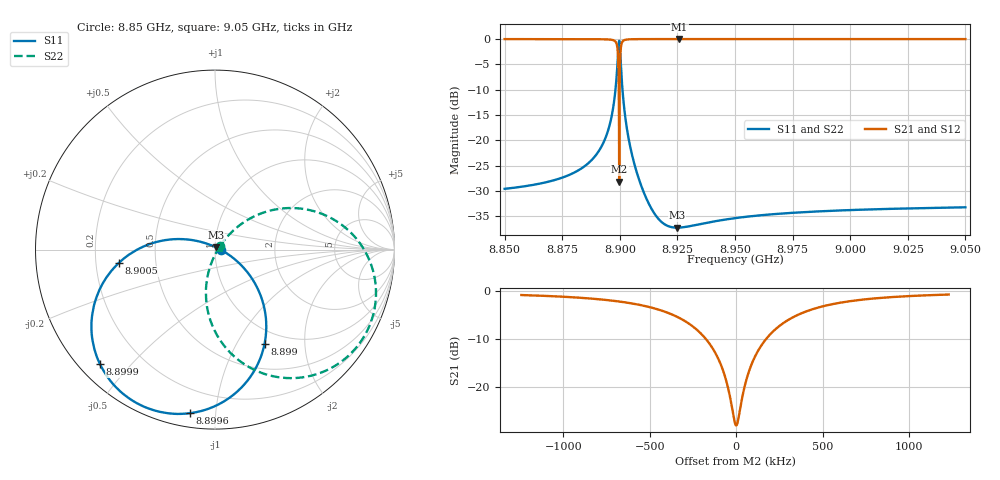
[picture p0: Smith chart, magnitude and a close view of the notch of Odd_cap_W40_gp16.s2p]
! Sonnet Data File
! From: emgraph Version : 16.52
! From Project: Resonator2
! Data is De-embedded
! Data File Written: 10/09/2017 23:05:25
!< HDATE 10/09/2017 14:49:56
!< MDATE 10/09/2017 18:05:28
!< PARAMS
!< gap = 16.0
!< Length = 400.0
!< Pwid1 = 2000.0
!< Pwid2 = 2000.0
!< Airgap = 24.0
!< Width = 40.0
!< END PARAMS
# GHZ S MA R 45.40000
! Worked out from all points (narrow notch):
!   1595 points, 8.85 GHz to 9.05 GHz, reference 45.4 ohm
!   highest |S21| = 0.00 dB at 8.9258 GHz (marker M1); lowest = -28.2 dB at 8.8997 GHz (marker M2)
!   notch at M2: 28.2 dB deep, 208 kHz wide at half that depth
!   lowest |S11| = -37.3 dB at 8.9248 GHz (marker M3), VSWR 1.03, Z = 45.9 + j1.14 ohm
!   |S11| at or under -10 dB: start of sweep to 8.8981 GHz; 8.9012 GHz to end of sweep
!   |S22| runs from -37.2 to -0.3 dB; largest |S21 - S12| = 0
!   S11 on the Smith chart (normalised r, x): 8.85 GHz: 1.07, -0.00; 8.899 GHz: 0.81, -1.31; 8.8996 GHz: 0.07, -0.85; 8.8999 GHz: 0.06, -0.41; 8.9005 GHz: 0.30, -0.06; 9.05 GHz: 1.04, +0.01
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8.85  0.03317 -2.1  0.9994 -73.9  0.9994 -73.9  0.03318 34.4
!< P1 F=8.85 Eeff=(5.09005347 -2.2131e-5) Z0=(45.4117489 1.00331e-4) R=0.0 C=0.0
!< P2 F=8.85 Eeff=(5.09005347 -2.2131e-5) Z0=(45.4117489 1.00331e-4) R=0.0 C=0.0
8.8834  0.05285 -13.1  0.9986 -75.4  0.9986 -75.4  0.05287 42.3
8.89458  0.1184 -25.6  0.9926 -79.3  0.9926 -79.3  0.1185 46.6
8.897792  0.2707 -38.7  0.96 -88.2  0.96 -88.2  0.271 41.1
8.899039  0.5935 -62.3  0.7875 -109.0  0.7875 -109.0  0.5942 21.0
8.899391  0.8122 -82.4  0.536 -126.8  0.536 -126.8  0.8131 2.0
8.899575  0.9225 -98.8  0.2822 -138.8  0.2822 -138.8  0.9236 -13.9
8.899659  0.9522 -107.5  0.1384 -138.8  0.1384 -138.8  0.9532 -22.4
8.899729  0.9605 -115.3  0.039 -73.1  0.039 -73.1  0.9615 -29.9
8.899804  0.9508 -123.4  0.1451 -6.1  0.1451 -6.1  0.9519 -37.8
8.899916  0.9041 -135.2  0.3379 -8.5  0.3379 -8.5  0.9052 -49.2
8.900148  0.7468 -154.8  0.6283 -24.3  0.6283 -24.3  0.7477 -68.1
8.900482  0.5399 -172.2  0.8265 -39.9  0.8265 -39.9  0.5405 -84.4
8.901813  0.2177 164.4  0.9736 -60.0  0.9736 -60.0  0.218 -103.2
8.905604  0.0674 147.0  0.9974 -68.8  0.9974 -68.8  0.06752 -104.2
8.9168  0.01672 100.1  0.9998 -72.2  0.9998 -72.2  0.01678 -64.3
8.9248  0.01372 64.9  0.9999 -72.8  0.9999 -72.8  0.01375 -30.5
8.9258  0.01374 61.6  0.9999 -72.8  0.9999 -72.8  0.01376 -27.3
8.95  0.01703 27.5  0.9998 -73.6  0.9998 -73.6  0.01703 5.4
8.9834  0.01971 17.4  0.9998 -74.1  0.9998 -74.1  0.01971 14.5
9.0168  0.02102 13.6  0.9998 -74.5  0.9998 -74.5  0.02102 17.5
9.05  0.02179 11.6  0.9998 -74.8  0.9998 -74.8  0.02179 18.8
